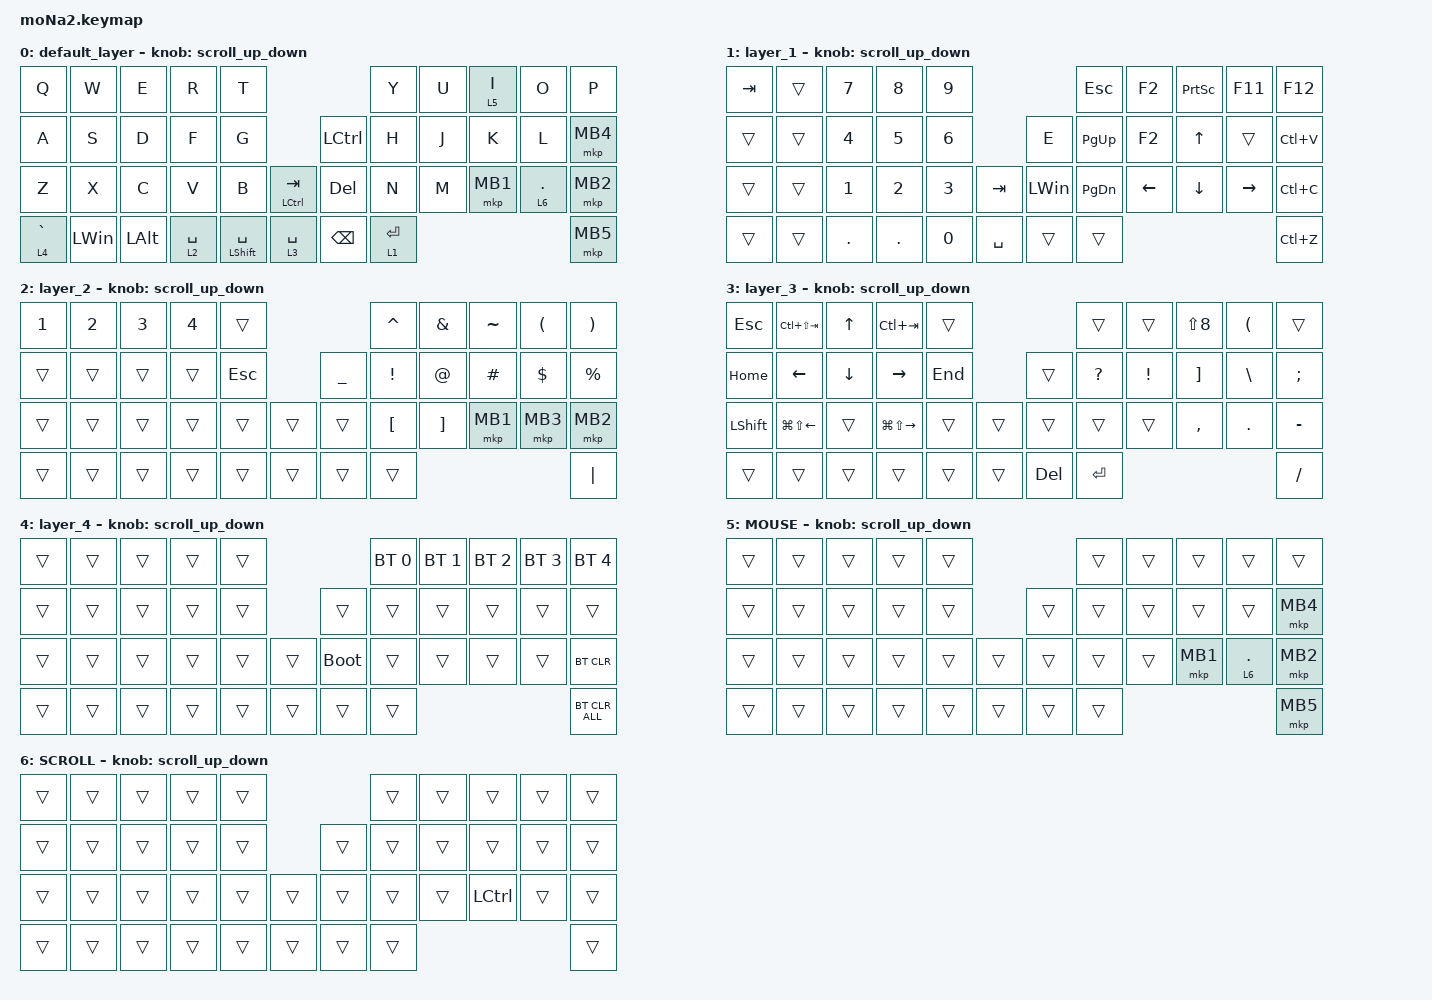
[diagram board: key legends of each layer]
#include <behaviors.dtsi>
#include <dt-bindings/zmk/bt.h>
#include <dt-bindings/zmk/keys.h>
#include <dt-bindings/zmk/pointing.h>

#define ZMK_POINTING_DEFAULT_SCRL_VAL 100
#define MOUSE 5
#define SCROLL 6

&mt {
    flavor = "balanced";
    quick-tap-ms = <0>;
};

/ {
    combos { compatible = "zmk,combos"; };

    macros {
        to_layer_0: to_layer_0 {
            compatible = "zmk,behavior-macro-one-param";
            #binding-cells = <1>;
            bindings = <&to 0 &macro_param_1to1 &kp MACRO_PLACEHOLDER>;
            label = "TO_LAYER_0";
        };
    };

    behaviors {
        lt_to_layer_0: lt_to_layer_0 {
            compatible = "zmk,behavior-hold-tap";
            label = "LAYER_TAP_TO_0";
            bindings = <&mo>, <&to_layer_0>;

            #binding-cells = <2>;
            tapping-term-ms = <200>;
        };

        scroll_up_down: behavior_sensor_rotate_mouse_wheel_up_down {
            compatible = "zmk,behavior-sensor-rotate";
            #sensor-binding-cells = <0>;
            bindings = <&msc SCRL_UP>, <&msc SCRL_DOWN>;

            tap-ms = <20>;
        };
    };

    keymap {
        compatible = "zmk,keymap";

        default_layer {
            bindings = <
&kp Q        &kp W         &kp E         &kp R        &kp T                                                           &kp Y        &kp U  &lt 5 I   &kp O         &kp P
&kp A        &kp S         &kp D         &kp F        &kp G                                         &kp LEFT_CONTROL  &kp H        &kp J  &kp K     &kp L         &mkp MB4
&kp Z        &kp X         &kp C         &kp V        &kp B                 &mt LEFT_CONTROL TAB    &kp DEL           &kp N        &kp M  &mkp MB1  &lt 6 PERIOD  &mkp MB2
&lt 4 GRAVE  &kp LEFT_WIN  &kp LEFT_ALT  &lt 2 SPACE  &mt LEFT_SHIFT SPACE  &lt 3 SPACE             &kp BACKSPACE     &lt 1 ENTER                                 &mkp MB5
            >;

            sensor-bindings = <&scroll_up_down>;
        };

        layer_1 {
            bindings = <
&kp TAB  &trans  &kp N7        &kp N8        &kp N9                                   &kp ESCAPE     &kp F2          &kp PSCRN       &kp F11          &kp F12
&trans   &trans  &kp NUMBER_4  &kp N5        &kp NUMBER_6               &kp E         &kp PAGE_UP    &kp F2          &kp UP_ARROW    &trans           &kp LC(V)
&trans   &trans  &kp NUMBER_1  &kp NUMBER_2  &kp NUMBER_3  &kp TAB      &kp LEFT_WIN  &kp PAGE_DOWN  &kp LEFT_ARROW  &kp DOWN_ARROW  &kp RIGHT_ARROW  &kp LC(C)
&trans   &trans  &kp PERIOD    &kp PERIOD    &kp N0        &kp SPACE    &trans        &trans                                                          &kp LC(Z)
            >;

            sensor-bindings = <&scroll_up_down>;
        };

        layer_2 {
            bindings = <
&kp NUMBER_1  &kp NUMBER_2  &kp NUMBER_3  &kp NUMBER_4  &trans                             &kp CARET         &kp AMPERSAND      &kp TILDE  &kp LEFT_PARENTHESIS  &kp RIGHT_PARENTHESIS
&trans        &trans        &trans        &trans        &kp ESC            &kp UNDERSCORE  &kp EXCLAMATION   &kp AT_SIGN        &kp HASH   &kp DOLLAR            &kp PERCENT
&trans        &trans        &trans        &trans        &trans   &trans    &trans          &kp LEFT_BRACKET  &kp RIGHT_BRACKET  &mkp MB1   &mkp MB3              &mkp MB2
&trans        &trans        &trans        &trans        &trans   &trans    &trans          &trans                                                                &kp PIPE
            >;

            sensor-bindings = <&scroll_up_down>;
        };

        layer_3 {
            bindings = <
&kp ESCAPE      &kp LC(LS(TAB))         &kp UP_ARROW    &kp LC(TAB)              &trans                      &trans        &trans           &kp LS(N8)         &kp LEFT_PARENTHESIS  &trans
&kp HOME        &kp LEFT_ARROW          &kp DOWN_ARROW  &kp RIGHT_ARROW          &kp END            &trans   &kp QUESTION  &kp EXCLAMATION  &kp RIGHT_BRACKET  &kp BACKSLASH         &kp SEMICOLON
&kp LEFT_SHIFT  &kp LG(LS(LEFT_ARROW))  &trans          &kp LG(LS(RIGHT_ARROW))  &trans   &trans    &trans   &trans        &trans           &kp COMMA          &kp PERIOD            &kp MINUS
&trans          &trans                  &trans          &trans                   &trans   &trans    &kp DEL  &kp ENTER                                                               &kp SLASH
            >;

            sensor-bindings = <&scroll_up_down>;
        };

        layer_4 {
            bindings = <
&trans  &trans  &trans  &trans  &trans                         &bt BT_SEL 0  &bt BT_SEL 1  &bt BT_SEL 2  &bt BT_SEL 3  &bt BT_SEL 4
&trans  &trans  &trans  &trans  &trans            &trans       &trans        &trans        &trans        &trans        &trans
&trans  &trans  &trans  &trans  &trans  &trans    &bootloader  &trans        &trans        &trans        &trans        &bt BT_CLR
&trans  &trans  &trans  &trans  &trans  &trans    &trans       &trans                                                  &bt BT_CLR_ALL
            >;

            sensor-bindings = <&scroll_up_down>;
        };

        MOUSE {
            bindings = <
&trans  &trans  &trans  &trans  &trans                    &trans  &trans  &trans    &trans        &trans
&trans  &trans  &trans  &trans  &trans            &trans  &trans  &trans  &trans    &trans        &mkp MB4
&trans  &trans  &trans  &trans  &trans  &trans    &trans  &trans  &trans  &mkp MB1  &lt 6 PERIOD  &mkp MB2
&trans  &trans  &trans  &trans  &trans  &trans    &trans  &trans                                  &mkp MB5
            >;

            sensor-bindings = <&scroll_up_down>;
        };

        SCROLL {
            bindings = <
&trans  &trans  &trans  &trans  &trans                    &trans  &trans  &trans            &trans  &trans
&trans  &trans  &trans  &trans  &trans            &trans  &trans  &trans  &trans            &trans  &trans
&trans  &trans  &trans  &trans  &trans  &trans    &trans  &trans  &trans  &kp LEFT_CONTROL  &trans  &trans
&trans  &trans  &trans  &trans  &trans  &trans    &trans  &trans                                    &trans
            >;

            sensor-bindings = <&scroll_up_down>;
        };
    };
};
